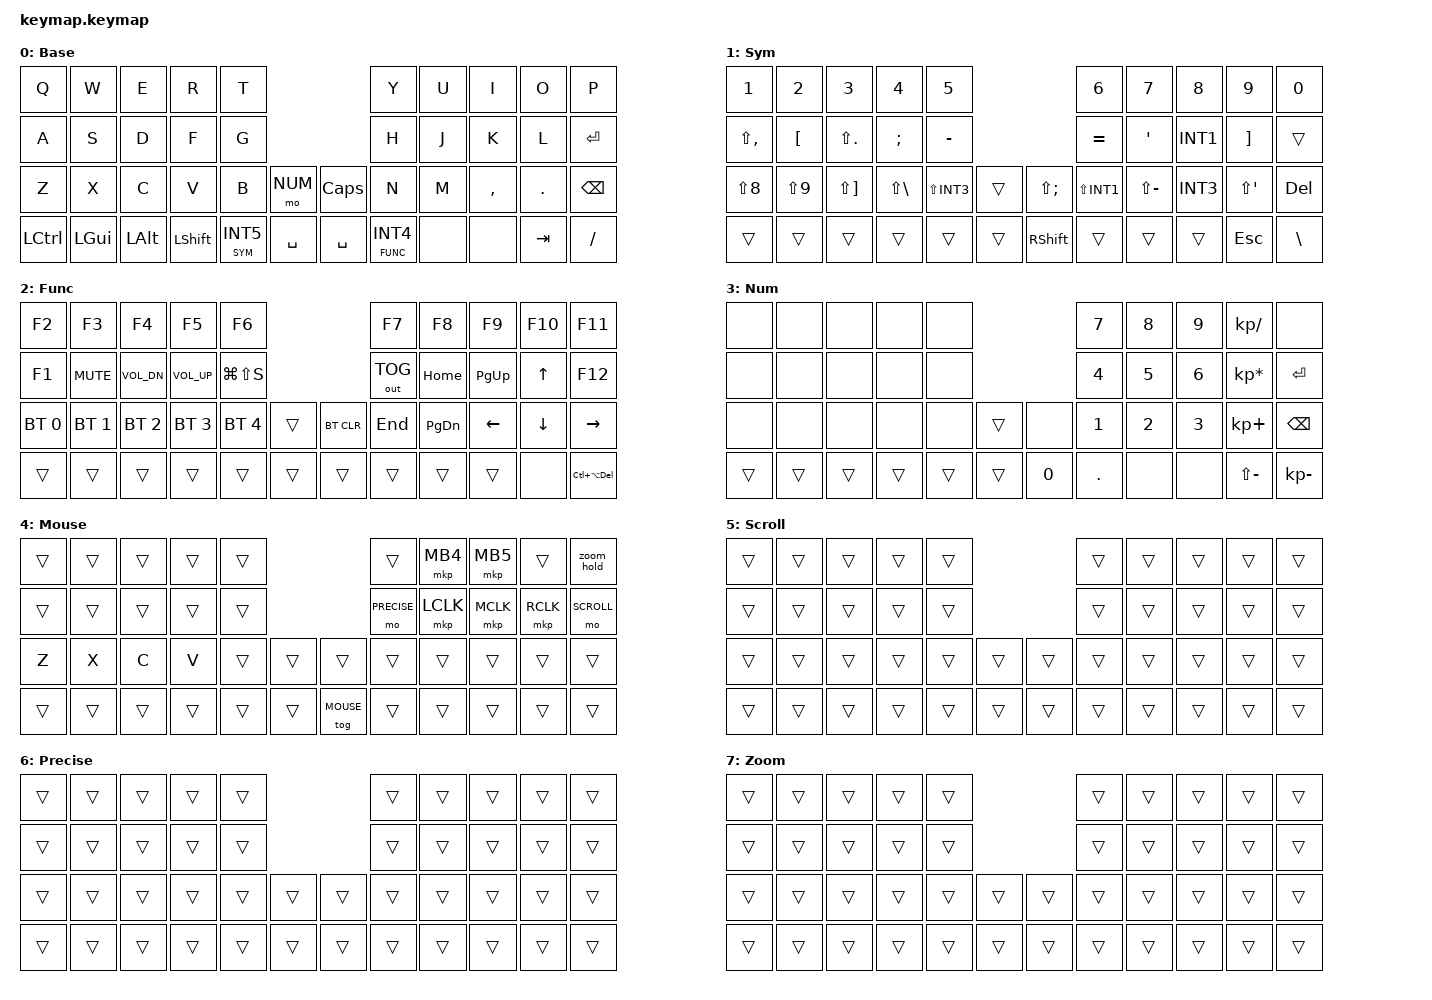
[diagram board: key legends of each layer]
/*
 * torabo-tsuki LP (S size, right trackball) keymap
 * Based on the owner's Cornix (Vial) keymap 260707.vil.
 *
 * Key positions (S layout):
 *   0  1  2  3  4                    5  6  7  8  9
 *  10 11 12 13 14                   15 16 17 18 19
 *  20 21 22 23 24 25             26 27 28 29 30 31
 *  32 33 34 35 36 37             38 39 40 41 42 43
 *  35-37: left thumbs, 38-39: right thumbs, 40-41: under the trackball (no switch)
 */

#include <behaviors.dtsi>
#include <dt-bindings/zmk/bt.h>
#include <dt-bindings/zmk/keys.h>
#include <dt-bindings/zmk/outputs.h>
#include <dt-bindings/zmk/pointing.h>
#include <input/processors.dtsi>
#include <dt-bindings/zmk/input_transform.h>

#define BASE   0
#define SYM    1
#define FUNC   2
#define NUM    3
#define MOUSE  4
#define SCROLL 5
#define PRECISE 6
#define ZOOM   7   /* layer numbers follow the order of the layer nodes below */

/ {
    chosen {
        zmk,physical-layout = &physical_layout_s;
    };
};

/* Auto mouse layer: moving the ball activates MOUSE for 1000 ms.
 * Pressing any key except the ones below turns it off immediately.
 * Kept: mouse buttons/scroll/zoom/precise, Z X C V (for Ctrl+Z/X/C/V), Ctrl Shift Alt Win.
 * Right Space (38) is kept too, but on the MOUSE layer it is bound to &tog MOUSE:
 * it only leaves the mouse layer and never types a space. */
&zip_temp_layer {
    require-prior-idle-ms = <200>;
    excluded-positions = <6 7 9 15 16 17 18 19 20 21 22 23 32 33 34 35 38>;
};

/* Thumb layer keys: tap = IME off (無変換) / IME on (変換), hold = layer. */
&lt {
    flavor = "balanced";
    tapping-term-ms = <200>;
    quick-tap-ms = <150>;
};

&pointing_listener {
    input-processors =
        <&zip_xy_transform (INPUT_TRANSFORM_X_INVERT | INPUT_TRANSFORM_Y_INVERT)>,
        <&zip_temp_layer MOUSE 1000>;

    /* Hold the scroll key (Enter position, below P) on the MOUSE layer: ball scrolls instead of moving the cursor. */
    scroller {
        layers = <SCROLL>;
        input-processors =
            <&zip_xy_transform INPUT_TRANSFORM_X_INVERT>,
            <&zip_xy_to_scroll_mapper>,
            <&zip_scroll_scaler 1 6>;
    };

    /* Hold the zoom key (P position) on the MOUSE layer: Ctrl + vertical wheel. */
    zoomer {
        layers = <ZOOM>;
        input-processors =
            <&zip_x_scaler 0 1>,
            <&zip_xy_transform INPUT_TRANSFORM_X_INVERT>,
            <&zip_xy_to_scroll_mapper>,
            <&zip_scroll_scaler 1 12>;
    };

    /* Hold H on the MOUSE layer: cursor at 1/3 speed. process-next keeps the
     * base processors (direction fix + auto mouse timer) running. */
    precise {
        layers = <PRECISE>;
        input-processors = <&zip_xy_scaler 1 3>;
        process-next;
    };
};

/ {
    combos {
        compatible = "zmk,combos";

        esc {
            bindings = <&kp ESC>;
            key-positions = <0 1>;   /* Q + W */
            timeout-ms = <40>;
            require-prior-idle-ms = <150>;
        };
    };
};

/ {
    macros {
        zoom_hold: zoom_hold {
            compatible = "zmk,behavior-macro";
            #binding-cells = <0>;
            wait-ms = <0>;
            tap-ms = <0>;
            bindings
                = <&macro_press &kp LCTRL &mo ZOOM>
                , <&macro_pause_for_release>
                , <&macro_release &mo ZOOM &kp LCTRL>
                ;
        };
    };
};

/ {
    keymap {
        compatible = "zmk,keymap";

        base_layer {
            display-name = "Base";
            bindings = <
&kp Q      &kp W      &kp E     &kp R     &kp T                                       &kp Y     &kp U      &kp I      &kp O     &kp P
&kp A      &kp S      &kp D     &kp F     &kp G                                       &kp H     &kp J      &kp K      &kp L     &kp RET
&kp Z      &kp X      &kp C     &kp V     &kp B     &mo NUM             &kp CAPS      &kp N     &kp M      &kp COMMA  &kp DOT   &kp BSPC
&kp LCTRL  &kp LGUI   &kp LALT  &kp LSHFT &lt SYM INT5  &kp SPACE       &kp SPACE     &lt FUNC INT4  &none  &none      &kp TAB   &kp FSLH
            >;
        };

        sym_layer {
            display-name = "Sym";
            bindings = <
&kp N1     &kp N2     &kp N3    &kp N4    &kp N5                                      &kp N6     &kp N7   &kp N8    &kp N9    &kp N0
&kp LS(COMMA)  &kp LBKT       &kp LS(DOT)    &kp SEMI        &kp MINUS                         &kp EQUAL      &kp SQT        &kp INT1  &kp RBKT     &trans
&kp LS(N8)     &kp LS(N9)     &kp LS(RBKT)   &kp LS(BSLH)    &kp LS(INT3)  &trans    &kp LS(SEMI)   &kp LS(INT1)   &kp LS(MINUS)  &kp INT3  &kp LS(SQT)  &kp DEL
&trans     &trans     &trans    &trans    &trans    &trans              &kp RSHFT     &trans     &trans   &trans    &kp ESC   &kp BSLH
            >;
        };

        func_layer {
            display-name = "Func";
            bindings = <
&kp F2         &kp F3         &kp F4         &kp F5        &kp F6                                &kp F7  &kp F8  &kp F9    &kp F10   &kp F11
&kp F1         &kp C_MUTE     &kp C_VOL_DN   &kp C_VOL_UP  &kp LG(LS(S))                         &out OUT_TOG  &kp HOME  &kp PG_UP   &kp UP    &kp F12
&bt BT_SEL 0   &bt BT_SEL 1   &bt BT_SEL 2   &bt BT_SEL 3  &bt BT_SEL 4  &trans          &bt BT_CLR  &kp END     &kp PG_DN   &kp LEFT  &kp DOWN  &kp RIGHT
&trans         &trans         &trans         &trans        &trans        &trans          &trans  &trans  &trans  &trans    &none     &kp LC(LA(DEL))
            >;
        };

        num_layer {
            display-name = "Num";
            bindings = <
&none      &none      &none     &none     &none                                       &kp N7    &kp N8    &kp N9    &kp KP_SLASH     &none
&none      &none      &none     &none     &none                                       &kp N4    &kp N5    &kp N6    &kp KP_MULTIPLY  &kp RET
&none      &none      &none     &none     &none     &trans              &none         &kp N1    &kp N2    &kp N3    &kp KP_PLUS      &kp BSPC
&trans     &trans     &trans    &trans    &trans    &trans              &kp N0        &kp DOT   &none     &none     &kp LS(MINUS)    &kp KP_MINUS
            >;
        };

        mouse_layer {
            display-name = "Mouse";
            bindings = <
&trans     &trans     &trans    &trans    &trans                                      &trans     &mkp MB4   &mkp MB5   &trans     &zoom_hold
&trans     &trans     &trans    &trans    &trans                                      &mo PRECISE  &mkp LCLK  &mkp MCLK  &mkp RCLK  &mo SCROLL
&kp Z      &kp X      &kp C     &kp V     &trans    &trans              &trans        &trans     &trans     &trans     &trans      &trans
&trans     &trans     &trans    &trans    &trans    &trans              &tog MOUSE    &trans     &trans     &trans     &trans      &trans
            >;
        };

        scroll_layer {
            display-name = "Scroll";
            bindings = <
&trans     &trans     &trans    &trans    &trans                                      &trans    &trans    &trans    &trans    &trans
&trans     &trans     &trans    &trans    &trans                                      &trans    &trans    &trans    &trans    &trans
&trans     &trans     &trans    &trans    &trans    &trans              &trans        &trans    &trans    &trans    &trans    &trans
&trans     &trans     &trans    &trans    &trans    &trans              &trans        &trans    &trans    &trans    &trans    &trans
            >;
        };

        precise_layer {
            display-name = "Precise";
            bindings = <
&trans     &trans     &trans    &trans    &trans                                      &trans    &trans    &trans    &trans    &trans
&trans     &trans     &trans    &trans    &trans                                      &trans    &trans    &trans    &trans    &trans
&trans     &trans     &trans    &trans    &trans    &trans              &trans        &trans    &trans    &trans    &trans    &trans
&trans     &trans     &trans    &trans    &trans    &trans              &trans        &trans    &trans    &trans    &trans    &trans
            >;
        };

        zoom_layer {
            display-name = "Zoom";
            bindings = <
&trans     &trans     &trans    &trans    &trans                                      &trans    &trans    &trans    &trans    &trans
&trans     &trans     &trans    &trans    &trans                                      &trans    &trans    &trans    &trans    &trans
&trans     &trans     &trans    &trans    &trans    &trans              &trans        &trans    &trans    &trans    &trans    &trans
&trans     &trans     &trans    &trans    &trans    &trans              &trans        &trans    &trans    &trans    &trans    &trans
            >;
        };
    };
};
